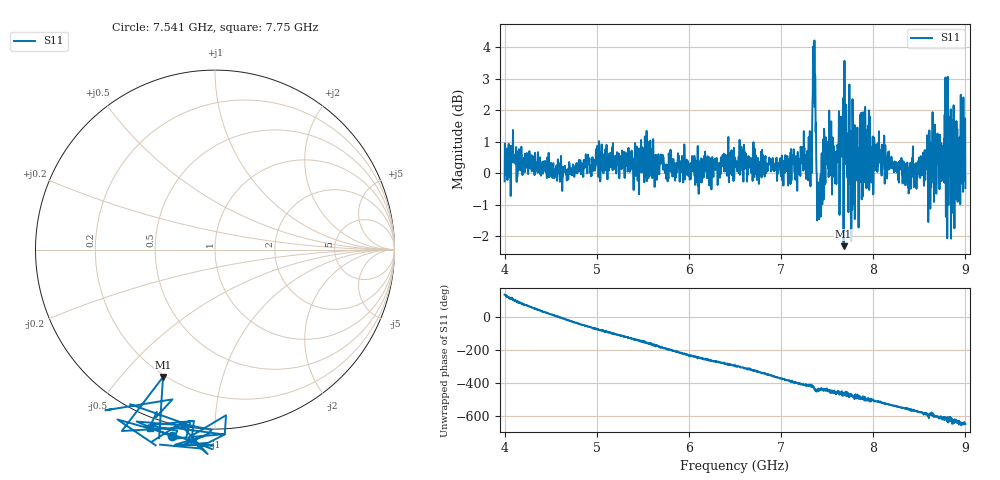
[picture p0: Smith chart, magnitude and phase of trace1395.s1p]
! Created with skrf 1.8.0 (http://scikit-rf.org).
# Hz S RI R 50.0
!freq ReS11 ImS11
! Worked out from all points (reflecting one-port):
!   1601 points, 4 GHz to 9 GHz, reference 50 ohm
!   lowest |S11| = -2.3 dB at 7.678 GHz (marker M1), VSWR 7.55, Z = 9.53 - j32.8 ohm
!   phase of S11 starts at 137 deg and turns -787 deg over the sweep
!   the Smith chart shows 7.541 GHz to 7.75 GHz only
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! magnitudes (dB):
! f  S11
! 4 GHz  -0.3
! 4.1 GHz  0.3
! 4.625 GHz  -0.6
! 5.25 GHz  0.2
! 5.875 GHz  0.3
! 6.5 GHz  0.5
! 7.125 GHz  0.6
! 7.294 GHz  -0.2
! 7.316 GHz  0.2
! 7.353 GHz  2.4
! 7.369 GHz  3.1
! 7.397 GHz  -0.9
! 7.409 GHz  -1.0
! 7.478 GHz  0.2
! 7.575 GHz  0.6
! 7.647 GHz  1.6
! 7.659 GHz  0.9
! 7.678 GHz  -2.3
! 7.719 GHz  -0.1
! 7.75 GHz  0.5
! 7.784 GHz  -1.0
! 7.928 GHz  0.4
! 7.981 GHz  -0.3
! 8.375 GHz  0.0
! 8.816 GHz  -1.0
! 8.869 GHz  0.2
! 8.972 GHz  1.0
! 9 GHz  -0.5
